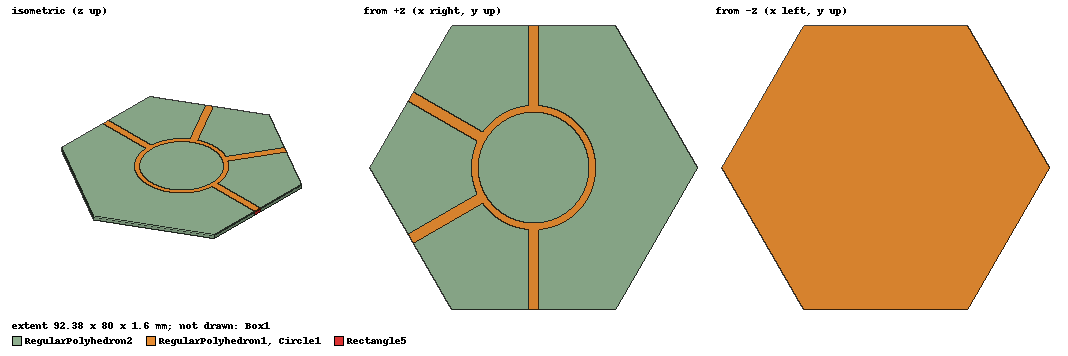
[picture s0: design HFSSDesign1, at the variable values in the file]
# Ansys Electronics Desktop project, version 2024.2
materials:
  vacuum: permittivity=1
  FR4_epoxy: permittivity=4.4 dielectric_loss_tangent=0.02

design HFSSDesign1 (HFSS, HFSS Modal Network, model units mm)
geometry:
  Circle1 = circle(normal=Z, centre=(0mm, 0mm, 0mm), radius=17.52mm)
  Circle2 = circle(normal=Z, centre=(0mm, 0mm, 0mm), radius=15.59mm)
  Circle1.subtract(Circle2)
  Rectangle1 = rectangle(corner=(-1.5mm, -40mm, 0mm), x_size=3mm, y_size=24mm)
  Rectangle1_1 = Rectangle1.duplicate_around_axis(axis=Z, angle=90deg, total=2)
  Rectangle1_2 = Rectangle1.duplicate_around_axis(axis=Z, angle=30deg, total=2)
  Rectangle1_3 = Rectangle1.duplicate_around_axis(axis=Z, angle=-30deg, total=2)
  Rectangle1_4 = Rectangle1.duplicate_around_axis(axis=Z, angle=-90deg, total=2)
  Rectangle1.delete()
  Circle1.unite(Rectangle1_1..Rectangle1_4)
  Circle1.rotate(axis=Z, angle=30deg)
  RegularPolyhedron1 [vacuum] = polyhedron(axis=Z, centre=(0mm, 0mm, 0mm), first_corner=(40mm/cos(30*pi/180), 0mm, 0mm), sides=6, height=0mm)
  RegularPolyhedron2 [FR4_epoxy] = polyhedron(axis=Z, centre=(0mm, 0mm, 0mm), first_corner=(40mm/cos(30*pi/180), 0mm, 0mm), sides=6, height=-1.6mm)
  RegularPolyhedron1.move(0mm, 0mm, -1.6mm)
  [Circle1, RegularPolyhedron1, RegularPolyhedron2].rotate(axis=Z, angle=30deg)
  [Circle1, RegularPolyhedron1, RegularPolyhedron2].rotate(axis=Z, angle=-30deg)
  Rectangle2 = rectangle(corner=(-1.5mm, -40mm, 0mm), z_size=-1.6mm, x_size=3mm)
  Circle1.rotate(axis=Z, angle=-30deg)
  RegularPolyhedron1.rotate(axis=Z, angle=-30deg)
  RegularPolyhedron2.rotate(axis=Z, angle=-30deg)
  Rectangle2.rotate(axis=Z, angle=-30deg)
  [Circle1, RegularPolyhedron1, RegularPolyhedron2, Rectangle2].rotate(axis=Z, angle=-30deg)
  Rectangle3 = rectangle(corner=(-1.5mm, -40mm, 0mm), z_size=-1.6mm, x_size=3mm)
  [Circle1, RegularPolyhedron1, RegularPolyhedron2, Rectangle2, Rectangle3].rotate(axis=Z, angle=-60deg)
  Rectangle4 = rectangle(corner=(-1.5mm, -40mm, 0mm), z_size=-1.6mm, x_size=3mm)
  Circle1.rotate(axis=Z, angle=-60deg)
  RegularPolyhedron1.rotate(axis=Z, angle=-60deg)
  RegularPolyhedron2.rotate(axis=Z, angle=-60deg)
  Rectangle2.rotate(axis=Z, angle=-60deg)
  Rectangle3.rotate(axis=Z, angle=-60deg)
  Rectangle4.rotate(axis=Z, angle=-60deg)
  Circle1.rotate(axis=Z, angle=-60deg)
  RegularPolyhedron1.rotate(axis=Z, angle=-60deg)
  RegularPolyhedron2.rotate(axis=Z, angle=-60deg)
  Rectangle2.rotate(axis=Z, angle=-60deg)
  Rectangle3.rotate(axis=Z, angle=-60deg)
  Rectangle4.rotate(axis=Z, angle=-60deg)
  [Circle1, RegularPolyhedron1, RegularPolyhedron2, Rectangle2, Rectangle3, Rectangle4].rotate(axis=Z, angle=-60deg)
  Rectangle5 = rectangle(corner=(-1.5mm, -40mm, 0mm), z_size=-1.6mm, x_size=3mm)
  Circle1.rotate(axis=Z, angle=-60deg)
  RegularPolyhedron1.rotate(axis=Z, angle=-60deg)
  RegularPolyhedron2.rotate(axis=Z, angle=-60deg)
  Rectangle2.rotate(axis=Z, angle=-60deg)
  Rectangle3.rotate(axis=Z, angle=-60deg)
  Rectangle4.rotate(axis=Z, angle=-60deg)
  Rectangle5.rotate(axis=Z, angle=-60deg)
  Circle1.rotate(axis=Z, angle=-60deg)
  RegularPolyhedron1.rotate(axis=Z, angle=-60deg)
  RegularPolyhedron2.rotate(axis=Z, angle=-60deg)
  Rectangle2.rotate(axis=Z, angle=-60deg)
  Rectangle3.rotate(axis=Z, angle=-60deg)
  Rectangle4.rotate(axis=Z, angle=-60deg)
  Rectangle5.rotate(axis=Z, angle=-60deg)
  [Circle1, RegularPolyhedron1, RegularPolyhedron2, Rectangle2..Rectangle5].rotate(axis=Z, angle=-60deg)
  Box1 [vacuum] = box(corner=(-50mm, -50mm, -50mm), size=(100mm, 100mm, 100mm))
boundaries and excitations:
  PerfE1: Perfect E Objects=RegularPolyhedron1
  PerfE2: Perfect E Objects=Circle1
  Rad1: Radiation Objects=Box1
  2: Lumped Port Objects=Rectangle5 LumpedPortType=Default Modes{Mode1{IntLine{(0, 40, -1.6) -> (0, 40, 0)} CharImp=Zpi RenormImp=50ohm}} Impedance=50ohm
  1: Lumped Port Objects=Rectangle2 LumpedPortType=Default Modes{Mode1{IntLine{(-34.641016, 20, -1.6) -> (-34.641016, 20, 0)} CharImp=Zpi RenormImp=50ohm}} Impedance=50ohm
  3: Lumped Port Objects=Rectangle3 LumpedPortType=Default Modes{Mode1{IntLine{(-34.641016, -20, -1.6) -> (-34.641016, -20, 0)} CharImp=Zpi RenormImp=50ohm}} Impedance=50ohm
  4: Lumped Port Objects=Rectangle4 LumpedPortType=Default Modes{Mode1{IntLine{(0, -40, -1.6) -> (0, -40, 0)} CharImp=Zpi RenormImp=50ohm}} Impedance=50ohm
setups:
  Setup1: HfssDriven MultipleAdaptiveFreqsSetup{Low=2GHz High=20GHz} MaxDeltaS=0.02 MaximumPasses=10 MinimumPasses=1 MinimumConvergedPasses=1 PercentRefinement=30 BasisOrder=1 PortAccuracy=2 DrivenSolverType="Direct Solver"
    sweep Sweep: 2GHz to 20GHz, 401 points; Type=Interpolating InterpTolerance=0.5 InterpMaxSolns=250 InterpUsePortImped=false PassivityErrorTolerance=0.0001
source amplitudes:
  2:1: 1W 0deg
  1:1, 3:1, 4:1: 0W 0deg
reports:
  S Parameter Plot 1: dB(S(2,1)), dB(S(1,1)), dB(S(1,2)), dB(S(1,3)), dB(S(1,4)) vs Freq on Setup1 : Sweep
